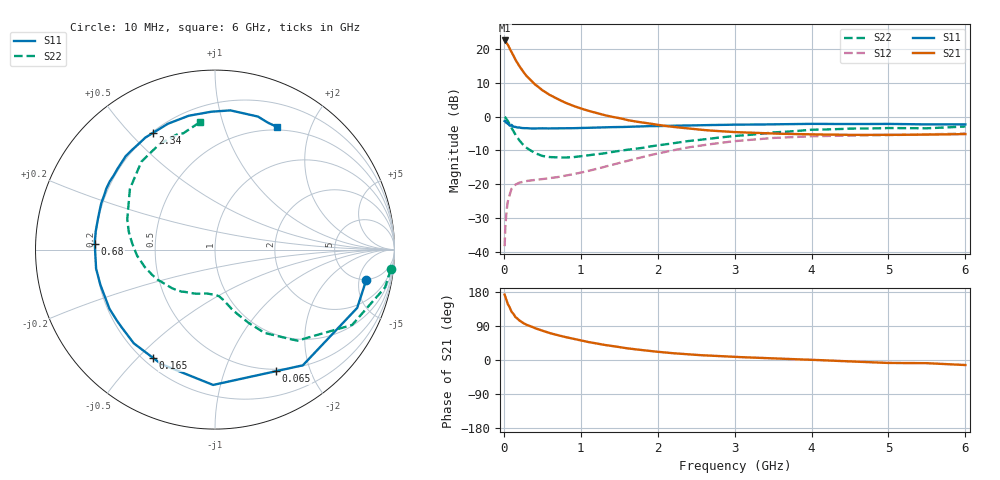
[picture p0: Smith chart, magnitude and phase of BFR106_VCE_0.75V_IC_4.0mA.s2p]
! Infineon Technologies  Discrete & RF Semiconductors
! BFR106
! VCE = 0.75 V,  IC =  4.0 mA
! Common Emitter S-Parameters:  Nov 2015
# GHz  S  MA  R  50
!  f  S11  S21  S12  S22
! GHz  MAG  ANG  MAG  ANG  MAG  ANG  MAG  ANG
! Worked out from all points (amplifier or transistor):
!   210 points, 10 MHz to 6 GHz, reference 50 ohm
!   highest |S21| = 22.5 dB at 10 MHz (marker M1)
!   |S21| within 3 dB of that: start of sweep to 90.44 MHz
!   unconditionally stable (mu >= 1): 626 MHz to end of sweep
!   at 185 MHz: K = 0.35, MSG = 17.6 dB, |S12| = -19.7 dB
!   at 1.52 GHz: K = 1.21, MAG = 3.8 dB, |S12| = -13.6 dB
!   at 6 GHz: K = 1.03, MAG = -1.1 dB, |S12| = -5.0 dB
!   S11 on the Smith chart (normalised r, x): 10 MHz: 4.82, -6.31; 65 MHz: 0.48, -1.51; 165 MHz: 0.24, -0.55; 680 MHz: 0.20, +0.02; 2.34 GHz: 0.21, +0.58; 6 GHz: 0.46, +1.52
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0.01  0.8593 -11.5  13.29 172.5  0.0122 85.0  0.9859 -6.3
0.02  0.8562 -22.3  13 166.7  0.024 79.4  0.9708 -12.5
0.05  0.8094 -52.8  11.58 148.2  0.0548 62.9  0.8718 -28.8
0.065  0.7578 -63.4  10.69 143.1  0.0634 56.2  0.8069 -33.6
0.1  0.7541 -90.8  9.034 127.5  0.0856 46.1  0.6838 -47.9
0.15  0.7048 -115.1  6.93 113.5  0.0985 36.5  0.5408 -59.2
0.165  0.6951 -119.8  6.516 111.2  0.1005 35.1  0.5125 -60.8
0.2  0.6909 -130.9  5.6 104.6  0.1055 31.9  0.4483 -65.4
0.22  0.6815 -135.5  5.195 102.0  0.1069 30.8  0.4207 -67.4
0.26  0.6746 -144.2  4.468 96.5  0.1097 28.9  0.3727 -71.5
0.3  0.6742 -150.7  3.914 92.5  0.112 28.1  0.3422 -74.4
0.4  0.6681 -162.9  3.018 84.1  0.116 27.7  0.2899 -79.8
0.5  0.6709 -170.9  2.45 77.2  0.1193 29.0  0.2624 -84.6
0.68  0.6698 177.3  1.862 66.6  0.1269 33.2  0.2501 -93.4
1.02  0.6788 161.2  1.298 50.8  0.1502 41.7  0.2612 -109.8
1.4  0.6986 147.1  0.995 37.2  0.1925 48.0  0.2995 -128.7
2.02  0.7244 127.2  0.75 21.3  0.2881 47.0  0.3779 -158.3
2.34  0.7364 117.9  0.678 15.7  0.3407 43.0  0.4245 -172.8
3.1  0.76 99.2  0.584 7.4  0.4427 29.6  0.5262 157.5
4.1  0.7788 82.5  0.544 -0.3  0.5141 12.3  0.6416 127.4
5.1  0.7759 71.2  0.537 -7.9  0.5347 -0.7  0.6756 107.3
6  0.7659 63.3  0.551 -13.3  0.562 -9.8  0.7139 96.9
